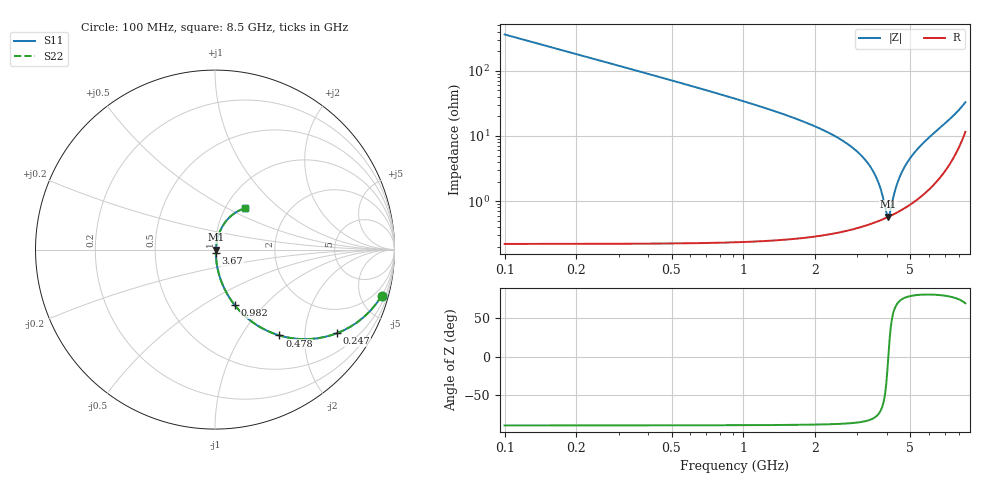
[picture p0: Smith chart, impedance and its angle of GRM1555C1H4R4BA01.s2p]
!Murata Part Number: GRM1555C1H4R4BA01
!These Parameters are Measured in Series Mode Connection
!Data Generated on Mar 30, 2021
!  o--ll--o
!Port1  Port2
!  o------o
!Operation Temp=25[degC], DC Bias Voltage=0[V]
!Freq. Start=100[MHz] Stop=9[GHz] 401[Steps]
# Hz S RI R 50
!Freq.(Hz) S11(Real) S11(Imag) S21(Real) S21(Imag) S12(Real) S12(Imag) S22(Real) S22(Imag)
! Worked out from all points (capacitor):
!   401 points, 100 MHz to 8.5 GHz, reference 50 ohm
!   read as one part in series: C = 4.4 pF near 142 MHz
!   lowest |Z| = 575 mohm at 4.048 GHz (marker M1)
!   series resonance near 4.044 GHz, so ESL is about 350 pH
!   S11 on the Smith chart (normalised r, x): 100 MHz: 1.00, -7.23; 247 MHz: 1.00, -2.92; 478 MHz: 1.00, -1.49; 982 MHz: 1.00, -0.70; 3.67 GHz: 1.01, -0.04; 8.5 GHz: 1.23, +0.62
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1e8  0.9288 -0.2569  0.0712 0.2569  0.0712 0.2569  0.9288 -0.2569
1.84e8  0.7935 -0.4042  0.2065 0.4042  0.2065 0.4042  0.7935 -0.4042
2.47e8  0.6803 -0.4656  0.3197 0.4656  0.3197 0.4656  0.6803 -0.4656
3.52e8  0.5101 -0.4988  0.4899 0.4988  0.4899 0.4988  0.5101 -0.4988
4.78e8  0.3586 -0.4781  0.6414 0.4781  0.6414 0.4781  0.3586 -0.4781
6.88e8  0.2087 -0.4041  0.7913 0.4041  0.7913 0.4041  0.2087 -0.4041
9.82e8  0.1099 -0.3095  0.8901 0.3095  0.8901 0.3095  0.1099 -0.3095
1.507e9  0.0442 -0.1996  0.9558 0.1996  0.9558 0.1996  0.0442 -0.1996
2.914e9  0.0076 -0.062  0.9924 0.062  0.9924 0.062  0.0076 -0.062
3.355e9  0.00562 -0.0356  0.9944 0.0356  0.9944 0.0356  0.00562 -0.0356
3.67e9  0.00525 -0.0187  0.9947 0.0187  0.9947 0.0187  0.00525 -0.0187
3.796e9  0.0053 -0.0122  0.9947 0.0122  0.9947 0.0122  0.0053 -0.0122
3.985e9  0.00557 -0.00285  0.9944 0.00285  0.9944 0.00285  0.00557 -0.00285
4.048e9  0.00571 0.000213  0.9943 -0.000213  0.9943 -0.000213  0.00571 0.000213
4.111e9  0.00587 0.00325  0.9941 -0.00325  0.9941 -0.00325  0.00587 0.00325
4.3e9  0.00651 0.0122  0.9935 -0.0122  0.9935 -0.0122  0.00651 0.0122
4.51e9  0.00746 0.022  0.9925 -0.022  0.9925 -0.022  0.00746 0.022
4.804e9  0.00926 0.0355  0.9907 -0.0355  0.9907 -0.0355  0.00926 0.0355
5.203e9  0.0126 0.0536  0.9874 -0.0536  0.9874 -0.0536  0.0126 0.0536
5.707e9  0.0187 0.0768  0.9813 -0.0768  0.9813 -0.0768  0.0187 0.0768
7.114e9  0.0543 0.1493  0.9457 -0.1493  0.9457 -0.1493  0.0543 0.1493
8.5e9  0.1672 0.2304  0.8328 -0.2304  0.8328 -0.2304  0.1672 0.2304
